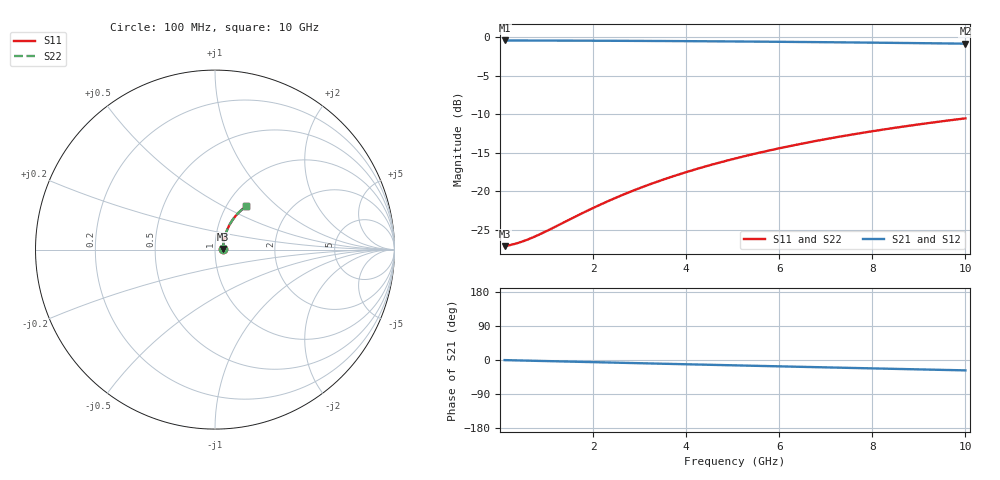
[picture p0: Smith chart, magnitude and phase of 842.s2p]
# Hz S RI R 50.00
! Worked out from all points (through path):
!   100 points, 100 MHz to 10 GHz, reference 50 ohm
!   highest |S21| = -0.39 dB at 100 MHz (marker M1); lowest = -0.8 dB at 10 GHz (marker M2)
!   group delay of S21, straight-line fit = 7.62 ps
!   lowest |S11| = -27.2 dB at 100 MHz (marker M3), VSWR 1.09, Z = 54.6 + j0.323 ohm
!   |S11| at or under -10 dB: start of sweep to end of sweep
!   |S22| runs from -27.2 to -10.5 dB; largest |S21 - S12| = 0
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1e8  0.0438 0.00295  0.9562 -0.00472  0.9562 -0.00472  0.0438 0.00295
3e8  0.0444 0.00884  0.9556 -0.0141  0.9556 -0.0141  0.0444 0.00884
4e8  0.0446 0.0118  0.9553 -0.0188  0.9553 -0.0188  0.0446 0.0118
5e8  0.0449 0.0147  0.955 -0.0236  0.955 -0.0236  0.0449 0.0147
7e8  0.0455 0.0206  0.9544 -0.033  0.9544 -0.033  0.0455 0.0206
1e9  0.0465 0.0293  0.9533 -0.047  0.9533 -0.047  0.0465 0.0293
1.8e9  0.0503 0.0525  0.9492 -0.0843  0.9492 -0.0843  0.0503 0.0525
2.2e9  0.0528 0.0639  0.9464 -0.1029  0.9464 -0.1029  0.0528 0.0639
2.6e9  0.0557 0.0752  0.9432 -0.1212  0.9432 -0.1212  0.0557 0.0752
3e9  0.059 0.0864  0.9395 -0.1395  0.9395 -0.1395  0.059 0.0864
3.4e9  0.0628 0.0974  0.9353 -0.1576  0.9353 -0.1576  0.0628 0.0974
3.8e9  0.067 0.1082  0.9307 -0.1755  0.9307 -0.1755  0.067 0.1082
4.2e9  0.0715 0.1188  0.9256 -0.1932  0.9256 -0.1932  0.0715 0.1188
4.6e9  0.0765 0.1292  0.92 -0.2106  0.92 -0.2106  0.0765 0.1292
5.1e9  0.0832 0.1419  0.9125 -0.2322  0.9125 -0.2322  0.0832 0.1419
5.5e9  0.089 0.1517  0.9061 -0.2491  0.9061 -0.2491  0.089 0.1517
5.9e9  0.0952 0.1613  0.8992 -0.2658  0.8992 -0.2658  0.0952 0.1613
6.7e9  0.1084 0.1795  0.8843 -0.2983  0.8843 -0.2983  0.1084 0.1795
7.5e9  0.1229 0.1966  0.868 -0.3296  0.868 -0.3296  0.1229 0.1966
8.4e9  0.1404 0.2142  0.8481 -0.3633  0.8481 -0.3633  0.1404 0.2142
9.2e9  0.157 0.2284  0.8292 -0.3918  0.8292 -0.3918  0.157 0.2284
1e10  0.1744 0.2412  0.8092 -0.419  0.8092 -0.419  0.1744 0.2412
